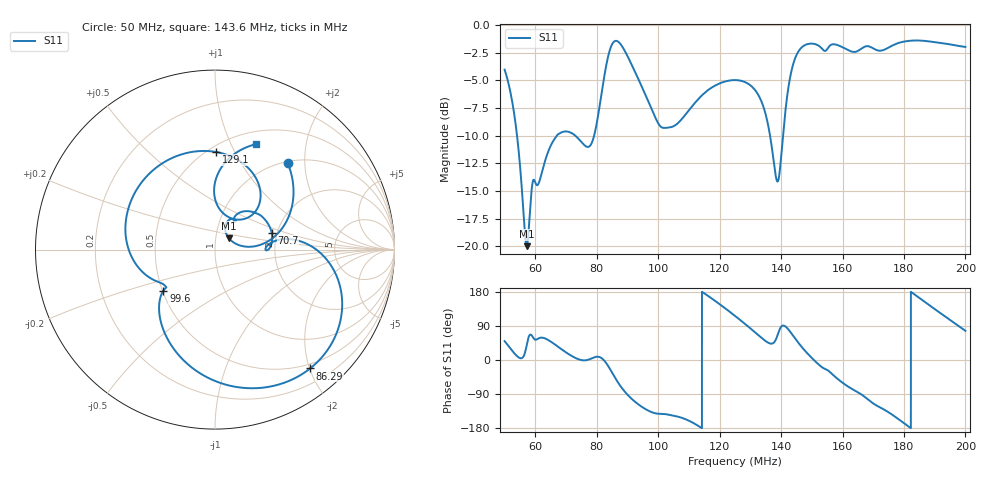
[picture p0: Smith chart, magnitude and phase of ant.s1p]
! COPPER MOUNTAIN TECHNOLOGIES, PLANAR TR1300/1, 00071119, 20.2.2/1.0
! Date: 11/21/2023 7:14:17 PM
! Data: Format [Calibration Info]
! Freq  S11: Re/Im F1
# HZ S RI R 50
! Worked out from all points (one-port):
!   12288 points, 50 MHz to 200 MHz, reference 50 ohm
!   lowest |S11| = -20.0 dB at 57.18 MHz (marker M1), VSWR 1.22, Z = 57.9 + j7.38 ohm
!   |S11| at or under -10 dB: 54.04 MHz to 66.98 MHz (12.93 MHz wide, 21.4 % of centre); 72.98 MHz to 79.14 MHz (6.16 MHz wide, 8.1 % of centre); 136.4 MHz to 140.6 MHz (4.215 MHz wide, 3.04 % of centre)
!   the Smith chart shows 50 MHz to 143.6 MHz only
!   S11 on the Smith chart (normalised r, x): 50 MHz: 1.04, +1.65; 70.7 MHz: 1.87, +0.39; 86.29 MHz: 0.43, -2.01; 99.6 MHz: 0.51, -0.27; 129.1 MHz: 0.55, +0.85; 143.6 MHz: 0.64, +1.27
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5e7  0.4058 0.4797
5.405306e7  0.3103 0.0559
5.717832e7  0.0777 0.0631
5.933914e7  0.1037 0.17
6.875153e7  0.2923 0.149
7.070481e7  0.3161 0.0924
7.782209e7  0.2844 0.0124
8.166762e7  0.4998 0.0375
8.419468e7  0.7085 -0.2896
8.629446e7  0.5298 -0.6624
8.750305e7  0.3308 -0.7581
9.255717e7  -0.2173 -0.5695
9.96012e7  -0.2878 -0.2294
1.062546e8  -0.3078 -0.1836
1.170221e8  -0.4987 0.1369
1.250061e8  -0.2509 0.5048
1.291324e8  0.00532 0.544
1.345894e8  0.2526 0.326
1.388256e8  0.0828 0.1776
1.412184e8  0.00313 0.3864
1.435623e8  0.2383 0.5896
1.437576e8  0.267 0.5945
1.505819e8  0.8224 0.0103
1.625092e8  0.2147 -0.7313
1.688329e8  -0.2445 -0.7603
1.812607e8  -0.8423 -0.0872
1.914422e8  -0.4909 0.6709
2e8  0.1782 0.7754
